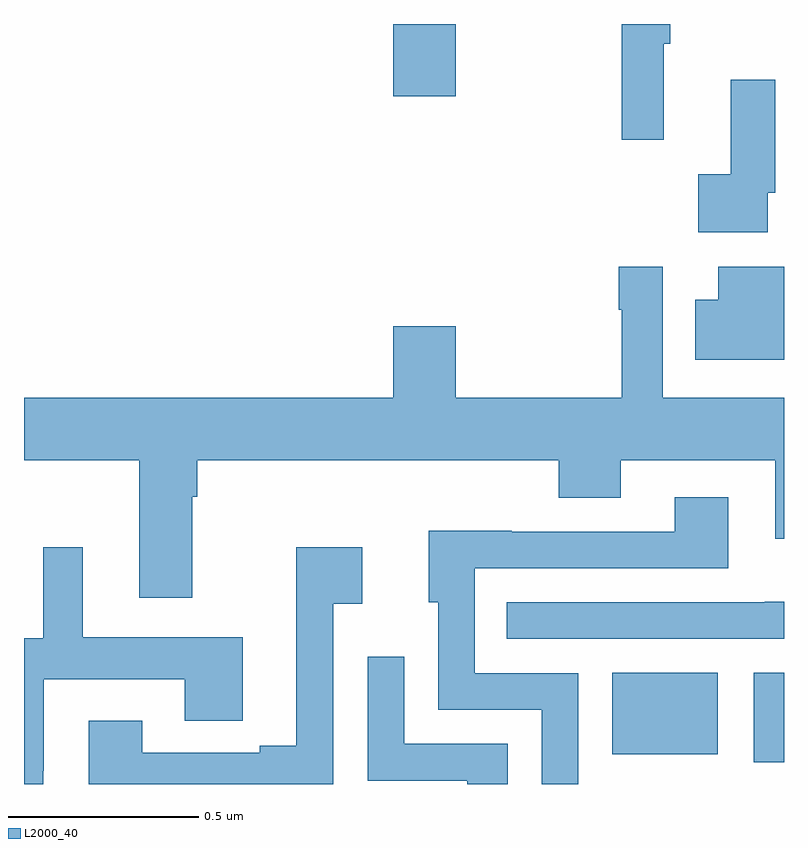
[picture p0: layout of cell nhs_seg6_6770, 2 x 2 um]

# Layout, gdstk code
import gdstk
lib = gdstk.Library(unit=1e-6, precision=1e-09)
def R(c, l, rs):  # rectangles x0, y0, x1, y1
    for r in rs: c.add(gdstk.rectangle(r[:2], r[2:], *l))
def P(c, l, *ps):  # polygons
    for p in ps: c.add(gdstk.Polygon(p, *l))
L2000_40 = (2000, 40)

nhs_seg6_6770 = lib.new_cell('nhs_seg6_6770')
R(nhs_seg6_6770, L2000_40, [(201.92,930.557,202,930.793), (201.548,930.578,201.826,930.793), (200.972,932.31,201.136,932.5)])
P(nhs_seg6_6770, L2000_40, [(201.683,932.448),(201.701,932.448),(201.701,932.5),(201.573,932.5),(201.573,932.196),(201.683,932.196)],
  [(201.957,932.056),(201.977,932.056),(201.977,932.353),(201.86,932.353),(201.86,932.105),(201.774,932.105),(201.774,931.952),(201.957,931.952)],
  [(200.443,931.256),(200.456,931.256),(200.456,931.352),(201.407,931.352),(201.407,931.253),(201.571,931.253),(201.571,931.352),(201.977,931.352),(201.977,931.146),(202,931.146),(202,931.516),(201.681,931.516),(201.681,931.861),(201.565,931.861),(201.565,931.748),(201.573,931.748),(201.573,931.516),(201.136,931.516),(201.136,931.705),(200.972,931.705),(200.972,931.516),(200,931.516),(200,931.352),(200.303,931.352),(200.303,930.99),(200.443,930.99)],
  [(202,931.861),(201.827,931.861),(201.827,931.774),(201.766,931.774),(201.766,931.616),(202,931.616)],
  [(201.459,930.792),(201.186,930.792),(201.186,931.068),(201.853,931.068),(201.853,931.255),(201.713,931.255),(201.713,931.164),(201.283,931.164),(201.283,931.166),(201.065,931.166),(201.065,930.978),(201.09,930.978),(201.09,930.696),(201.363,930.696),(201.363,930.5),(201.459,930.5)],
  [(200.05,930.535),(200.052,930.535),(200.052,930.776),(200.423,930.776),(200.423,930.667),(200.575,930.667),(200.575,930.886),(200.155,930.886),(200.155,931.123),(200.051,931.123),(200.051,930.884),(200,930.884),(200,930.5),(200.05,930.5)],
  [(200.814,930.974),(200.89,930.974),(200.89,931.123),(200.717,931.123),(200.717,930.601),(200.621,930.601),(200.621,930.582),(200.311,930.582),(200.311,930.667),(200.171,930.667),(200.171,930.5),(200.814,930.5)],
  [(202,930.979),(201.949,930.979),(201.949,930.978),(201.271,930.978),(201.271,930.882),(202,930.882)],
  [(201.273,930.606),(201,930.606),(201,930.835),(200.904,930.835),(200.904,930.509),(201.166,930.509),(201.166,930.5),(201.273,930.5)])

lib.write_gds('nhs_seg6_6770.gds')
